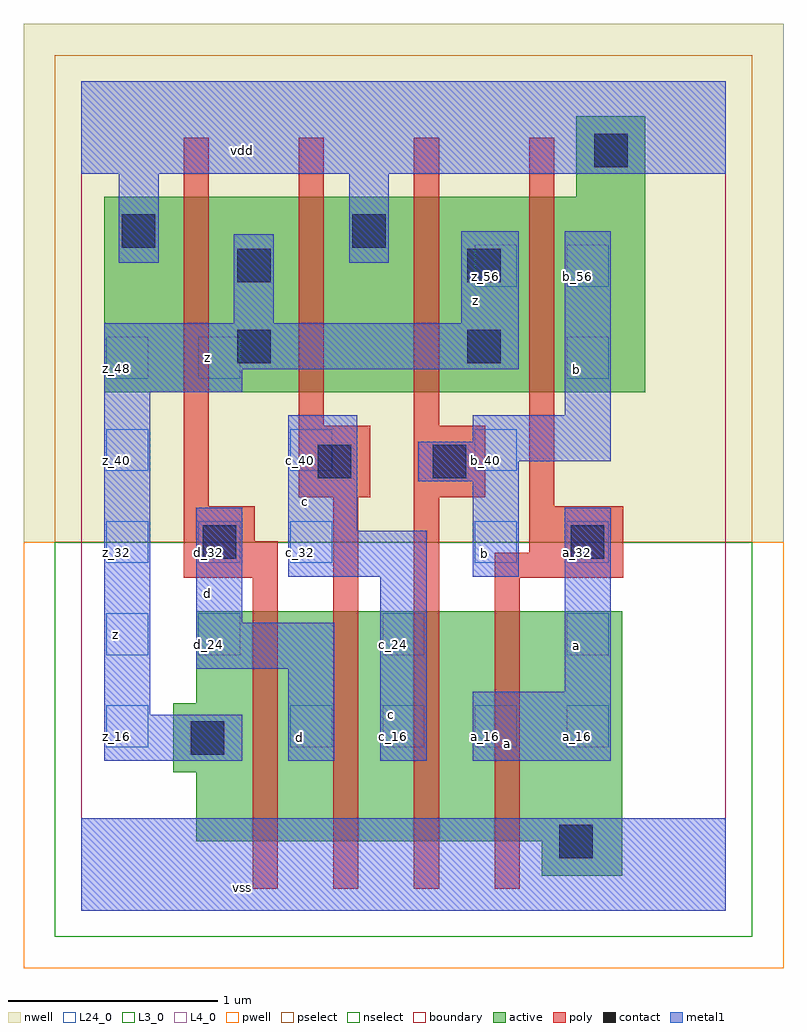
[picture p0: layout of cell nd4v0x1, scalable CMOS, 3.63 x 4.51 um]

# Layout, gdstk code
import gdstk
lib = gdstk.Library(unit=1e-6, precision=2.5e-09)
def R(c, l, rs):  # rectangles x0, y0, x1, y1
    for r in rs: c.add(gdstk.rectangle(r[:2], r[2:], *l))
def A(c, l, x, y, w, h, nx, ny, dx, dy):  # array of equal rectangles
    R(c, l, [(x+i*dx, y+j*dy, x+i*dx+w, y+j*dy+h) for i in range(nx) for j in range(ny)])
L3_0 = (3, 0)
L4_0 = (4, 0)
L24_0 = (24, 0)
contact = (25, 0)
pwell = (41, 0)
nwell = (42, 0)
active = (43, 0)
pselect = (44, 0)
nselect = (45, 0)
poly = (46, 0)
metal1 = (49, 0)
boundary = (63, 0)

nd4v0x1 = lib.new_cell('nd4v0x1')
R(nd4v0x1, L3_0, [(2.2,0.165,2.585,0.33), (0.55,0.33,2.585,0.66), (0.44,0.66,2.585,0.99), (0.55,0.99,2.585,1.43)])
R(nd4v0x1, L4_0, [(0.11,2.475,2.695,3.41), (2.365,3.41,2.695,3.795)])
A(nd4v0x1, L24_0, 1, 0.78, 0.2, 0.2, 4, 1, 0.44, 0)
A(nd4v0x1, L24_0, 0.56, 1.22, 0.2, 0.2, 3, 1, 0.88, 0)
A(nd4v0x1, L24_0, 0.12, 1.66, 0.2, 0.2, 3, 1, 0.44, 0)
A(nd4v0x1, L24_0, 0.12, 2.1, 0.2, 0.2, 3, 1, 0.88, 0)
R(nd4v0x1, L24_0, [(0.12,0.78,0.32,0.98), (0.12,1.22,0.32,1.42), (1.88,1.66,2.08,1.86), (2.32,1.66,2.52,1.86), (0.12,2.54,0.32,2.74), (0.56,2.54,0.76,2.74), (2.32,2.54,2.52,2.74), (1.88,2.98,2.08,3.18), (2.32,2.98,2.52,3.18)])
R(nd4v0x1, contact, [(2.285,0.25,2.445,0.41), (0.525,0.745,0.685,0.905), (0.58,1.68,0.74,1.84), (2.34,1.68,2.5,1.84), (1.13,2.065,1.29,2.225), (1.68,2.065,1.84,2.225), (0.745,2.615,0.905,2.775), (1.845,2.615,2.005,2.775), (0.745,3,0.905,3.16), (1.845,3,2.005,3.16), (0.195,3.165,0.355,3.325), (1.295,3.165,1.455,3.325), (2.45,3.55,2.61,3.71)])
R(nd4v0x1, pwell, [(-0.275,-0.275,3.355,1.76)])
R(nd4v0x1, nwell, [(-0.275,1.76,3.355,4.235)])
R(nd4v0x1, active, [(2.2,0.165,2.585,0.33), (0.55,0.33,2.585,0.66), (0.44,0.66,2.585,0.99), (0.55,0.99,2.585,1.43), (0.11,2.475,2.695,3.41), (2.365,3.41,2.695,3.795)])
R(nd4v0x1, pselect, [(-0.125,1.76,3.205,4.085)])
R(nd4v0x1, nselect, [(-0.125,-0.125,3.205,1.76)])
R(nd4v0x1, poly, [(0.82,0.105,0.94,1.59), (1.205,0.105,1.325,1.975), (1.59,0.105,1.71,1.975), (1.975,0.105,2.095,1.59), (0.49,1.59,0.94,1.765), (1.975,1.59,2.59,1.71), (2.14,1.71,2.59,1.93), (0.49,1.765,0.83,1.93), (0.49,1.93,0.61,3.69), (2.14,1.93,2.26,3.69), (1.04,1.975,1.38,2.315), (1.59,1.975,1.93,2.315), (1.04,2.315,1.16,3.69), (1.59,2.315,1.71,3.69)])
R(nd4v0x1, metal1, [(0,0,3.08,0.44), (0.11,0.715,0.77,0.935), (0.99,0.715,1.21,1.155), (1.43,0.715,1.65,1.595), (1.87,0.715,2.53,1.045), (0.11,0.935,0.33,2.475), (2.31,1.045,2.53,1.925), (0.55,1.155,1.21,1.375), (0.55,1.375,0.77,1.925), (0.99,1.595,1.65,1.815), (1.87,1.595,2.09,2.05), (0.99,1.815,1.32,2.365), (1.61,2.05,2.09,2.145), (1.61,2.145,2.53,2.24), (1.87,2.24,2.53,2.365), (2.31,2.365,2.53,3.245), (0.11,2.475,0.77,2.585), (0.11,2.585,2.09,2.805), (0.73,2.805,0.92,3.23), (1.815,2.805,2.09,3.245), (0.18,3.095,0.37,3.52), (1.28,3.095,1.47,3.52), (0,3.52,3.08,3.96)])
R(nd4v0x1, boundary, [(0,0,3.08,3.96)])
nd4v0x1.add(gdstk.Label('vss', (0.77,0.11), layer=49, texttype=0))
nd4v0x1.add(gdstk.Label('a', (2.035,0.7975), layer=49, texttype=0))
nd4v0x1.add(gdstk.Label('a', (2.365,1.265), layer=49, texttype=0))
nd4v0x1.add(gdstk.Label('c', (1.485,0.935), layer=49, texttype=0))
nd4v0x1.add(gdstk.Label('d', (1.045,0.825), layer=49, texttype=0))
nd4v0x1.add(gdstk.Label('b', (1.925,1.7075), layer=49, texttype=0))
nd4v0x1.add(gdstk.Label('c', (1.0725,1.9525), layer=49, texttype=0))
nd4v0x1.add(gdstk.Label('d', (0.605,1.5125), layer=49, texttype=0))
nd4v0x1.add(gdstk.Label('b', (2.365,2.585), layer=49, texttype=0))
nd4v0x1.add(gdstk.Label('z', (0.165,1.32), layer=49, texttype=0))
nd4v0x1.add(gdstk.Label('z', (0.605,2.64), layer=49, texttype=0))
nd4v0x1.add(gdstk.Label('z', (1.8825,2.915), layer=49, texttype=0))
nd4v0x1.add(gdstk.Label('vdd', (0.77,3.63), layer=49, texttype=0))
nd4v0x1.add(gdstk.Label('d_24', (0.61,1.27), layer=24, texttype=0))
nd4v0x1.add(gdstk.Label('d_32', (0.61,1.71), layer=24, texttype=0))
nd4v0x1.add(gdstk.Label('z_48', (0.61,2.59), layer=24, texttype=0))
nd4v0x1.add(gdstk.Label('d_16', (1.05,0.83), layer=24, texttype=0))
nd4v0x1.add(gdstk.Label('c_32', (1.05,1.71), layer=24, texttype=0))
nd4v0x1.add(gdstk.Label('c_40', (1.05,2.15), layer=24, texttype=0))
nd4v0x1.add(gdstk.Label('c_16', (1.49,0.83), layer=24, texttype=0))
nd4v0x1.add(gdstk.Label('c_24', (1.49,1.27), layer=24, texttype=0))
nd4v0x1.add(gdstk.Label('a_16', (1.93,0.83), layer=24, texttype=0))
nd4v0x1.add(gdstk.Label('b_32', (1.93,1.71), layer=24, texttype=0))
nd4v0x1.add(gdstk.Label('b_40', (1.93,2.15), layer=24, texttype=0))
nd4v0x1.add(gdstk.Label('z_56', (1.93,3.03), layer=24, texttype=0))
nd4v0x1.add(gdstk.Label('z_16', (0.17,0.83), layer=24, texttype=0))
nd4v0x1.add(gdstk.Label('z_24', (0.17,1.27), layer=24, texttype=0))
nd4v0x1.add(gdstk.Label('z_32', (0.17,1.71), layer=24, texttype=0))
nd4v0x1.add(gdstk.Label('z_40', (0.17,2.15), layer=24, texttype=0))
nd4v0x1.add(gdstk.Label('z_48', (0.17,2.59), layer=24, texttype=0))
nd4v0x1.add(gdstk.Label('a_16', (2.37,0.83), layer=24, texttype=0))
nd4v0x1.add(gdstk.Label('a_24', (2.37,1.27), layer=24, texttype=0))
nd4v0x1.add(gdstk.Label('a_32', (2.37,1.71), layer=24, texttype=0))
nd4v0x1.add(gdstk.Label('b_48', (2.37,2.59), layer=24, texttype=0))
nd4v0x1.add(gdstk.Label('b_56', (2.37,3.03), layer=24, texttype=0))

lib.write_gds('nd4v0x1.gds')
